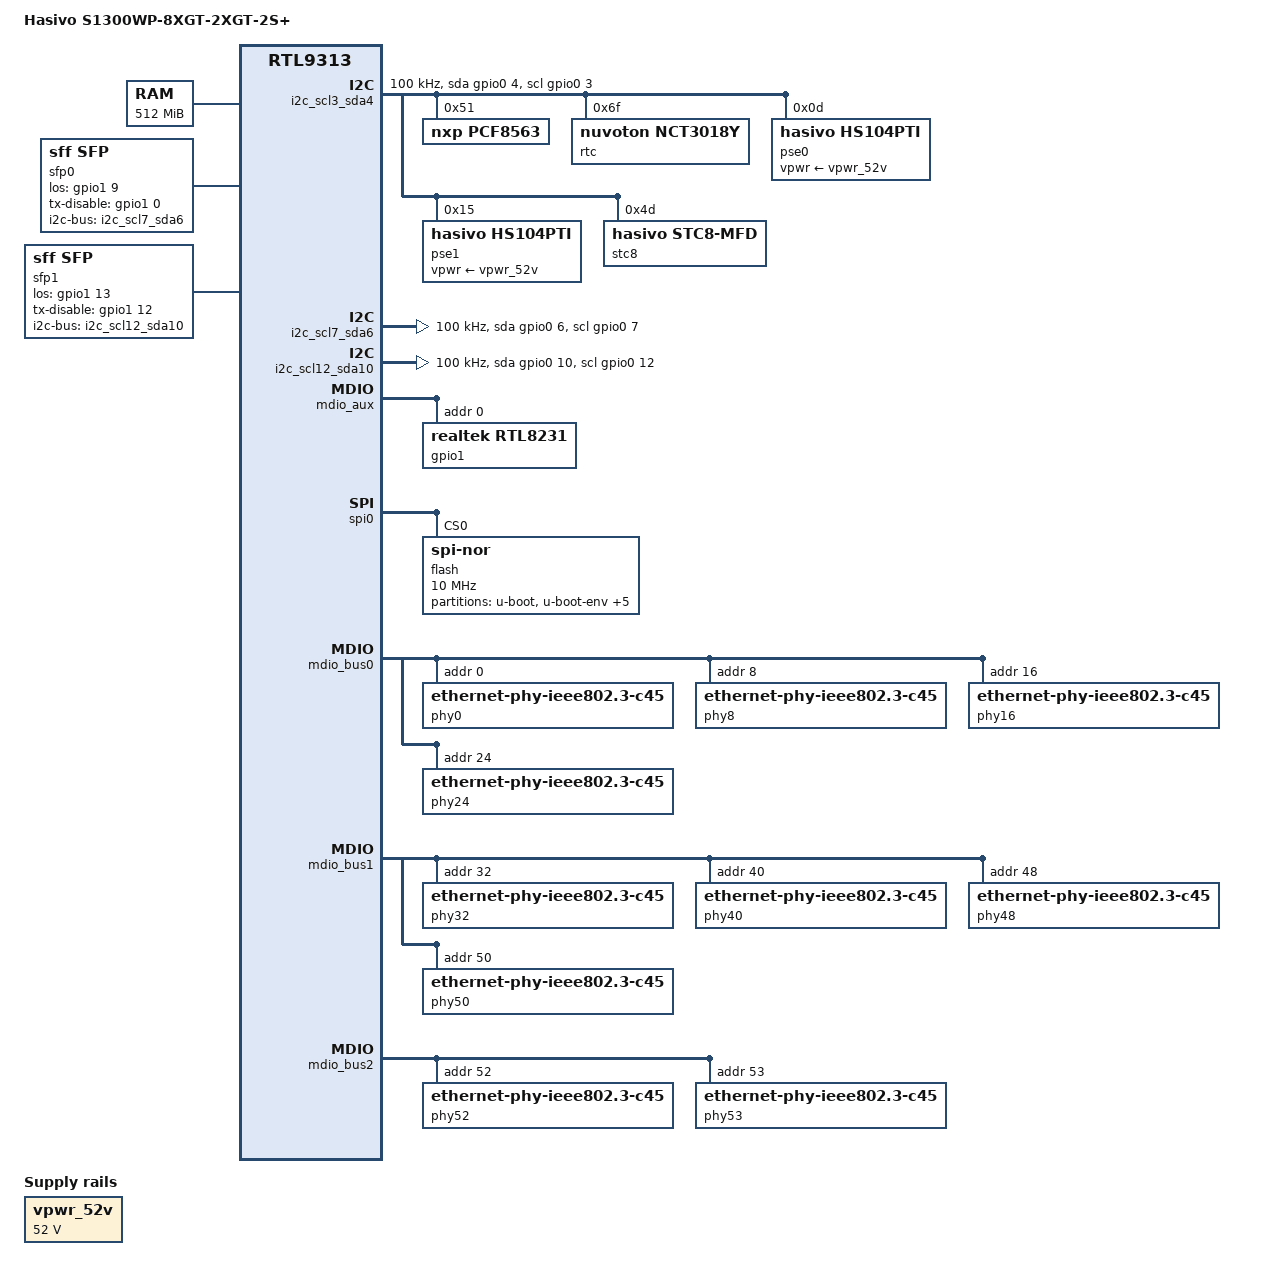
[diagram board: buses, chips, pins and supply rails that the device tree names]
// SPDX-License-Identifier: (GPL-2.0-or-later or MIT)
/dts-v1/;

#include "rtl931x.dtsi"

#include <dt-bindings/input/input.h>
#include <dt-bindings/gpio/gpio.h>
#include <dt-bindings/leds/common.h>

/ {
	compatible = "hasivo,s1300wp-8xgt-2xgt-2s+", "realtek,RTL9313_2x8264_2x8261_2XGE_DEMO";
	model = "Hasivo S1300WP-8XGT-2XGT-2S+";

	memory@0 {
		device_type = "memory";
		reg = 	<0x00000000 0x10000000>, /* 256 MiB */
				<0x20000000 0x10000000>; /* 256 MiB High Memory, to avoid MMIO and stay in KUSEG */
	};

	aliases {
/*
		led-boot = &led_sys;
		led-failsafe = &led_sys;
		led-running = &led_sys;
		led-upgrade = &led_sys;
*/
		label-mac-device = &ethernet0;
	};

	chosen {
		stdout-path = "serial0:38400n8";
	};

/*
	keys {
		compatible = "gpio-keys";

		button-reset {
			label = "reset";
			gpios = <&gpio0 1 GPIO_ACTIVE_LOW>;
			linux,code = <KEY_RESTART>;
		};
	};

	leds {
		compatible = "gpio-leds";

		pinctrl-names = "default";
		pinctrl-0 = <&pinmux_disable_sys_led>;

		led_sys: led-0 {
			label = "green:system";
			gpios = <&gpio0 1 GPIO_ACTIVE_HIGH>;
			linux,default-trigger = "heartbeat";
		};
	};
*/

	led_set: led_set {
		compatible = "realtek,rtl9300-leds";

		led_set0 = <
		(	// GREEN LEFT RJ45 - 1G link, blink on activity
			RTL93XX_LED_SET_1G |
			RTL93XX_LED_SET_LINK |
			RTL93XX_LED_SET_ACT
		)
		(	// GREEN RIGHT RJ45 - 10M/100M link, blink on activity
			RTL93XX_LED_SET_10M |
			RTL93XX_LED_SET_100M |
			RTL93XX_LED_SET_LINK |
			RTL93XX_LED_SET_ACT
		)
		(	// ORANGE LEFT RJ45 - 2.5G link, blink on activity
			RTL93XX_LED_SET_2P5G |
			RTL93XX_LED_SET_LINK |
			RTL93XX_LED_SET_ACT
		)
		>;
	};

	i2c_scl3_sda4 {
		compatible = "i2c-gpio";
		#address-cells = <1>;
		#size-cells = <0>;

		scl-gpios = <&gpio0 3 (GPIO_ACTIVE_HIGH | GPIO_OPEN_DRAIN)>;
		sda-gpios = <&gpio0 4 (GPIO_ACTIVE_HIGH | GPIO_OPEN_DRAIN)>;

		clock-frequency = <100000>;

		pcf8563: pcf8563@51 {
			compatible = "nxp,pcf8563";
			reg = <0x51>;
			#clock-cells = <0>;
		};

		rtc@6f {
            compatible = "nuvoton,nct3018y";
            reg = <0x6f>;
        };

		pse0: pse0@0x0d {
			compatible = "hasivo,hs104pti";
			reg = <0x0d>;
			#pse-cells = <1>;
			vpwr-supply = <&vpwr_52v>;
		};

		pse1: pse1@0x15 {
			compatible = "hasivo,hs104pti";
			reg = <0x15>;
			#pse-cells = <1>;
			vpwr-supply = <&vpwr_52v>;
		};

		stc8@4d {
			compatible = "hasivo,stc8-mfd", "syscon";
			reg = <0x4d>;

			led_lan1_poe {
				compatible = "register-bit-led";
				reg = <0x01>;
				mask = <0x08>;
				label = "orange:lan1_poe";
				linux,default-trigger = "pse0:port0delivering";
			};

			led_lan2_poe {
				compatible = "register-bit-led";
				reg = <0x01>;
				mask = <0x04>;
				label = "orange:lan2_poe";
				linux,default-trigger = "pse0:port1delivering";
			};

			led_lan3_poe {
				compatible = "register-bit-led";
				reg = <0x01>;
				mask = <0x02>;
				label = "orange:lan3_poe";
				linux,default-trigger = "pse0:port2delivering";
			};

			led_lan4_poe {
				compatible = "register-bit-led";
				reg = <0x01>;
				mask = <0x01>;
				label = "orange:lan4_poe";
				linux,default-trigger = "pse0:port3delivering";
			};

			led_lan5_poe {
				compatible = "register-bit-led";
				reg = <0x02>;
				mask = <0x08>;
				label = "orange:lan5_poe";
				linux,default-trigger = "pse1:port0delivering";
			};

			led_lan6_poe {
				compatible = "register-bit-led";
				reg = <0x02>;
				mask = <0x04>;
				label = "orange:lan6_poe";
				linux,default-trigger = "pse1:port1delivering";
			};

			led_lan7_poe {
				compatible = "register-bit-led";
				reg = <0x02>;
				mask = <0x02>;
				label = "orange:lan7_poe";
				linux,default-trigger = "pse1:port2delivering";
			};

			led_lan8_poe {
				compatible = "register-bit-led";
				reg = <0x02>;
				mask = <0x01>;
				label = "orange:lan8_poe";
				linux,default-trigger = "pse1:port3delivering";
			};
		};
	};

	vpwr_52v: regulator-vpwr {
		compatible = "regulator-fixed";
		regulator-name = "vpwr_52v";

		regulator-min-microvolt = <52000000>;
		regulator-max-microvolt = <52000000>;

		regulator-always-on;
	};

	i2c_scl7_sda6: i2c {
		compatible = "i2c-gpio";
		#address-cells = <1>;
		#size-cells = <0>;

		scl-gpios = <&gpio0 7 (GPIO_ACTIVE_HIGH | GPIO_OPEN_DRAIN)>;
		sda-gpios = <&gpio0 6 (GPIO_ACTIVE_HIGH | GPIO_OPEN_DRAIN)>;

		clock-frequency = <100000>;
	};

	i2c_scl12_sda10: i2c {
		compatible = "i2c-gpio";
		#address-cells = <1>;
		#size-cells = <0>;

		scl-gpios = <&gpio0 12 (GPIO_ACTIVE_HIGH | GPIO_OPEN_DRAIN)>;
		sda-gpios = <&gpio0 10 (GPIO_ACTIVE_HIGH | GPIO_OPEN_DRAIN)>;

		clock-frequency = <100000>;
	};

	sfp0: sfp-p50 {
		compatible = "sff,sfp";
		i2c-bus = <&i2c_scl7_sda6>;
		los-gpio = <&gpio1 9 GPIO_ACTIVE_HIGH>;
		tx-disable-gpio = <&gpio1 0 GPIO_ACTIVE_HIGH>;
		maximum-power-milliwatt = <2900>;
		#thermal-sensor-cells = <0>;
	};

	sfp1: sfp-p51 {
		compatible = "sff,sfp";
		i2c-bus = <&i2c_scl12_sda10>;
		los-gpio = <&gpio1 13 GPIO_ACTIVE_HIGH>;
		tx-disable-gpio = <&gpio1 12 GPIO_ACTIVE_HIGH>;
		maximum-power-milliwatt = <2900>;
		#thermal-sensor-cells = <0>;
	};
};

&mdio_aux {
	status = "okay";

	gpio1: expander@0 {
		compatible = "realtek,rtl8231";
		reg = <0>;

		gpio-controller;
		#gpio-cells = <2>;
		gpio-ranges = <&gpio1 0 0 37>;

		led-controller {
			compatible = "realtek,rtl8231-leds";
			status = "disabled";
		};
	};
};

&spi0 {
	status = "okay";

	flash@0 {
		compatible = "jedec,spi-nor";
		reg = <0>;
		spi-max-frequency = <10000000>;

		partitions {
			compatible = "fixed-partitions";
			#address-cells = <1>;
			#size-cells = <1>;

			/* stock is LOADER */
			partition@0 {
				label = "u-boot";
				reg = <0x0000000 0x00e0000>;
				read-only;
			};

			/* stock is BDINFO */
			partition@e0000 {
				label = "u-boot-env";
				reg = <0x00e0000 0x0010000>;

				nvmem-layout {
					compatible = "u-boot,env";

					macaddr_ubootenv_ethaddr: ethaddr {
						#nvmem-cell-cells = <1>;
					};
					serialnumber_ubootenv: serialnumber {
						#nvmem-cell-cells = <1>;
					};
					pse_bt_port_no_ubootenv: pse_bt_port_no {
						#nvmem-cell-cells = <1>;
					};
					pse_existed_flag_ubootenv: pse_existed_flag {
						#nvmem-cell-cells = <1>;
					};
					pse_power_bank_ubootenv: pse_power_bank {
						#nvmem-cell-cells = <1>;
					};
				};
			};

			/* stock is SYSINFO */
			partition@f0000 {
				label = "u-boot-env2";
				reg = <0x00f0000 0x0010000>;
				read-only;
			};

			/* stock is JFFS2 CFG */
			partition@100000 {
				label = "jffs";
				reg = <0x0100000 0x0100000>;
			};

			/* stock is JFFS2 LOG */
			partition@200000 {
				label = "jffs2";
				reg = <0x0200000 0x0100000>;
			};

			/* stock is RUNTIME */
			partition@300000 {
				compatible = "openwrt,uimage", "denx,uimage";
				label = "firmware";
				reg = <0x0300000 0x0700000>;
			};

			/* stock is RUNTIME2 */
			partition@a00000 {
				compatible = "openwrt,uimage", "denx,uimage";
				label = "firmware2";
				reg = <0x0a00000 0x1600000>;
			};
		};
	};
};


&ethernet0 {
	nvmem-cells = <&macaddr_ubootenv_ethaddr 0>;
	nvmem-cell-names = "mac-address";
};

&mdio_bus0 {

	/* 8264 */
	phy0: ethernet-phy@0 {
		reg = <0>;
		compatible = "ethernet-phy-ieee802.3-c45";
		realtek,smi-address = <0>;
		pse = <&pse0 0>;
	};
	phy8: ethernet-phy@8 {
		reg = <8>;
		compatible = "ethernet-phy-ieee802.3-c45";
		realtek,smi-address = <1>;
		pse = <&pse0 1>;
	};
	phy16: ethernet-phy@16 {
		reg = <16>;
		compatible = "ethernet-phy-ieee802.3-c45";
		realtek,smi-address = <2>;
		pse = <&pse0 2>;
	};
	phy24: ethernet-phy@24 {
		reg = <24>;
		compatible = "ethernet-phy-ieee802.3-c45";
		realtek,smi-address = <3>;
		pse = <&pse0 3>;
	};
};

&mdio_bus1 {
	/* 8264 */
	phy32: ethernet-phy@32 {
		reg = <32>;
		compatible = "ethernet-phy-ieee802.3-c45";
		realtek,smi-address = <4>;
		pse = <&pse1 0>;
	};
	phy40: ethernet-phy@40 {
		reg = <40>;
		compatible = "ethernet-phy-ieee802.3-c45";
		realtek,smi-address = <5>;
		pse = <&pse1 1>;
	};
	phy48: ethernet-phy@48 {
		reg = <48>;
		compatible = "ethernet-phy-ieee802.3-c45";
		realtek,smi-address = <6>;
		pse = <&pse1 2>;
	};
	phy50: ethernet-phy@50 {
		reg = <50>;
		compatible = "ethernet-phy-ieee802.3-c45";
		realtek,smi-address = <7>;
		pse = <&pse1 3>;
	};
};

&mdio_bus2 {
	/* 8261 */
	phy52: ethernet-phy@52 {
		reg = <52>;
		compatible = "ethernet-phy-ieee802.3-c45";
		realtek,smi-address = <8>;
	};

	/* 8261 */
	phy53: ethernet-phy@53 {
		reg = <53>;
		compatible = "ethernet-phy-ieee802.3-c45";
		realtek,smi-address = <9>;
	};
};

&switch0 {
	ports {
		#address-cells = <1>;
		#size-cells = <0>;

		port@0 {
			reg = <0>;
			label = "lan1";
			pcs-handle = <&serdes2>;
			phy-handle = <&phy0>;
			phy-mode = "usxgmii";
			led-set = <0>;
		};

		port@8 {
			reg = <8>;
			label = "lan2";
			pcs-handle = <&serdes3>;
			phy-handle = <&phy8>;
			phy-mode = "usxgmii";
			led-set = <0>;
		};

		port@16 {
			reg = <16>;
			label = "lan3";
			pcs-handle = <&serdes4>;
			phy-handle = <&phy16>;
			phy-mode = "usxgmii";
			led-set = <0>;
		};

		port@24 {
			reg = <24>;
			label = "lan4";
			pcs-handle = <&serdes5>;
			phy-handle = <&phy24>;
			phy-mode = "usxgmii";
			led-set = <0>;
		};

		port@32 {
			reg = <32>;
			label = "lan5";
			pcs-handle = <&serdes6>;
			phy-handle = <&phy32>;
			phy-mode = "usxgmii";
			led-set = <0>;
		};

		port@40 {
			reg = <40>;
			label = "lan6";
			pcs-handle = <&serdes7>;
			phy-handle = <&phy40>;
			phy-mode = "usxgmii";
			sfp = <&sfp0>;
		};

		port@48 {
			reg = <48>;
			label = "lan7";
			pcs-handle = <&serdes8>;
			phy-handle = <&phy48>;
			phy-mode = "usxgmii";
		};

		port@50 {
			reg = <50>;
			label = "lan8";
			pcs-handle = <&serdes9>;
			phy-handle = <&phy50>;
			phy-mode = "usxgmii";
		};

		port@52 {
			reg = <52>;
			label = "lan9";
			pcs-handle = <&serdes10>;
			phy-handle = <&phy52>;
			phy-mode = "usxgmii";
		};

		port@53 {
			reg = <53>;
			label = "lan10";
			pcs-handle = <&serdes11>;
			phy-handle = <&phy53>;
			phy-mode = "usxgmii";
		};

		/* SFP1 */
		port@54 {
			reg = <54>;
			label = "sfp1";
			pcs-handle = <&serdes12>;
			phy-mode = "1000base-x";
			managed = "in-band-status";
			sfp = <&sfp0>;
		};

		/* SFP2 */
		port@55 {
			reg = <55>;
			label = "sfp2";
			pcs-handle = <&serdes13>;
			phy-mode = "1000base-x";
			managed = "in-band-status";
			sfp = <&sfp1>;
		};

		/* Internal SoC */
		port@56 {
			ethernet = <&ethernet0>;
			reg = <56>;
			phy-mode = "internal";

			fixed-link {
				speed = <10000>;
				full-duplex;
			};
		};
	};
};
